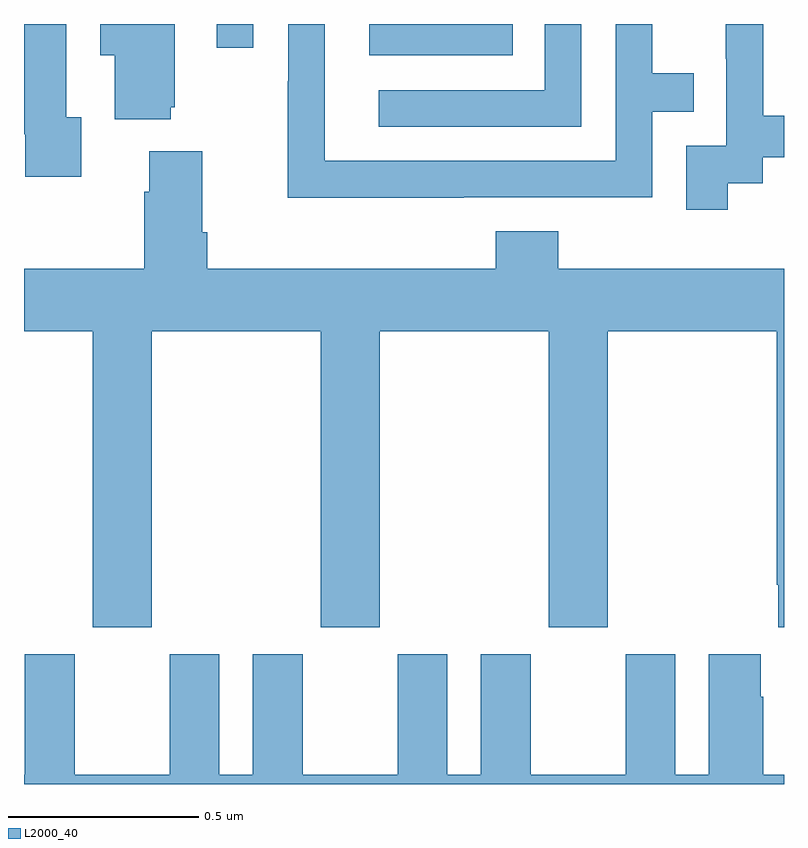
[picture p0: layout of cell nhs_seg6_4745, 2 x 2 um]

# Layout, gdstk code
import gdstk
lib = gdstk.Library(unit=1e-6, precision=1e-09)
def R(c, l, rs):  # rectangles x0, y0, x1, y1
    for r in rs: c.add(gdstk.rectangle(r[:2], r[2:], *l))
def P(c, l, *ps):  # polygons
    for p in ps: c.add(gdstk.Polygon(p, *l))
L2000_40 = (2000, 40)

nhs_seg6_4745 = lib.new_cell('nhs_seg6_4745')
R(nhs_seg6_4745, L2000_40, [(174.908,925.418,175.286,925.5), (174.507,925.437,174.603,925.5)])
P(nhs_seg6_4745, L2000_40, [(174.151,925.254),(174.111,925.254),(174.111,925.5),(174,925.5),(174,925.21),(174.003,925.21),(174.003,925.098),(174.151,925.098)],
  [(174.386,925.281),(174.397,925.281),(174.397,925.5),(174.2,925.5),(174.2,925.418),(174.239,925.418),(174.239,925.25),(174.386,925.25)],
  [(175.467,925.5),(175.371,925.5),(175.371,925.326),(174.933,925.326),(174.933,925.23),(175.467,925.23)],
  [(175.157,925.044),(175.653,925.044),(175.653,925.269),(175.763,925.269),(175.763,925.37),(175.653,925.37),(175.653,925.5),(175.557,925.5),(175.557,925.14),(174.792,925.14),(174.792,925.5),(174.696,925.5),(174.696,925.349),(174.694,925.349),(174.694,925.043),(175.157,925.043)],
  [(175.852,925.081),(175.944,925.081),(175.944,925.149),(176,925.149),(176,925.258),(175.946,925.258),(175.946,925.5),(175.847,925.5),(175.847,925.409),(175.848,925.409),(175.848,925.179),(175.743,925.179),(175.743,925.011),(175.852,925.011)],
  [(174.336,924.692),(174.781,924.692),(174.781,923.913),(174.936,923.913),(174.936,924.692),(175.381,924.692),(175.381,923.913),(175.536,923.913),(175.536,924.692),(175.981,924.692),(175.981,924.025),(175.985,924.025),(175.985,923.913),(176,923.913),(176,924.856),(175.406,924.856),(175.406,924.955),(175.241,924.955),(175.241,924.856),(174.482,924.856),(174.482,924.952),(174.469,924.952),(174.469,925.165),(174.329,925.165),(174.329,925.058),(174.317,925.058),(174.317,924.856),(174,924.856),(174,924.692),(174.181,924.692),(174.181,923.913),(174.336,923.913)],
  [(174.133,923.842),(174.002,923.842),(174.002,923.524),(174,923.524),(174,923.5),(176,923.5),(176,923.524),(175.946,923.524),(175.946,923.729),(175.939,923.729),(175.939,923.842),(175.802,923.842),(175.802,923.524),(175.714,923.524),(175.714,923.842),(175.583,923.842),(175.583,923.524),(175.333,923.524),(175.333,923.842),(175.202,923.842),(175.202,923.524),(175.114,923.524),(175.114,923.842),(174.983,923.842),(174.983,923.524),(174.733,923.524),(174.733,923.842),(174.602,923.842),(174.602,923.524),(174.514,923.524),(174.514,923.842),(174.383,923.842),(174.383,923.524),(174.133,923.524)])

lib.write_gds('nhs_seg6_4745.gds')
